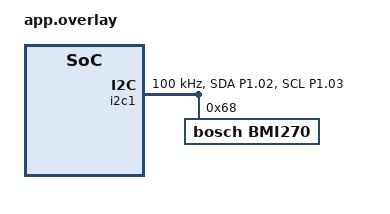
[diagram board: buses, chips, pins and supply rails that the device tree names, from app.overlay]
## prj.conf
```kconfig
CONFIG_STDOUT_CONSOLE=y
CONFIG_I2C=y
CONFIG_PRINTK=y
CONFIG_SENSOR=y
CONFIG_GPIO=y
CONFIG_BMI270=y

CONFIG_NEWLIB_LIBC=y
CONFIG_NEWLIB_LIBC_FLOAT_PRINTF=y
CONFIG_CBPRINTF_FP_SUPPORT=y

CONFIG_USE_SEGGER_RTT=y
CONFIG_RTT_CONSOLE=y


CONFIG_LOG=n
```

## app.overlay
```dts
// To get started, press Ctrl+Space (or Option+Esc) to bring up the completion menu and view the available nodes.

// You can also use the buttons in the sidebar to perform actions on nodes.
// Actions currently available include:

// * Enabling / disabling the node
// * Adding the bus to a bus
// * Removing the node
// * Connecting ADC channels

// For more help, browse the DeviceTree documentation at https: //docs.zephyrproject.org/latest/guides/dts/index.html
// You can also visit the nRF DeviceTree extension documentation at https: //docs.nordicsemi.com/bundle/nrf-connect-vscode/page/guides/ncs_configure_app.html#devicetree-support-in-the-extension

&i2c1 {
  status = "okay";
  compatible = "nordic,nrf-twim";
  label = "I2C_1";
  pinctrl-0 = <&i2c1_default>;
  pinctrl-1 = <&i2c1_sleep>;
  pinctrl-names = "default", "sleep";
  clock-frequency = <I2C_BITRATE_STANDARD>;
  zephyr,concat-buf-size = <4092>;
  zephyr,flash-buf-max-size = <4092>;


  bmi270@68 {
		compatible = "bosch,bmi270";
		reg = <0x68>;
	};
};

&pinctrl {
  i2c1_default: i2c1_default{
    group1 {
      psels = <NRF_PSEL(TWIM_SDA, 1, 02)>,
              <NRF_PSEL(TWIM_SCL, 1, 03)>;
    };
  };

  i2c1_sleep: i2c1_sleep{
    group1 {
      psels = <NRF_PSEL(TWIM_SDA, 1, 02)>,
              <NRF_PSEL(TWIM_SCL, 1, 03)>;
      low-power-enable;
    };
  };
};
```

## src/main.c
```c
/*
 * Copyright (c) 2021 Bosch Sensortec GmbH
 *
 * SPDX-License-Identifier: Apache-2.0
 */

#include <zephyr/kernel.h>
#include <zephyr/device.h>
#include <zephyr/drivers/sensor.h>
#include <stdio.h>
#include <zephyr/drivers/gpio.h>
#include <zephyr/sys/atomic.h>
#include <math.h>
#define PI 3.14159265359f

// Constantes para filtro Madgwick 
#define deltat 0.01f                                             // Periodo de amostragem (1 ms = 0.001 s)
#define gyroMeasError 3.14159265358979f * (10.0f / 180.0f)         // erro de medição do giroscópio em rad/s (convertido de 5°/s)  
//#define beta sqrt(3.0f / 4.0f) * gyroMeasError                    // constante de correção do filtro Madgwick (proporcional ao erro de medição do giroscópio)  

float beta_val = 0.0f;
#define BETA_MOTION  (sqrt(3.0f / 4.0f) * (3.14159265358979f * (10.0f / 180.0f)))  // movimento normal
#define BETA_STATIC  0.5f   // parado: acelerômetro corrige forte

float SEq_1 = 1.0f, SEq_2 = 0.0f, SEq_3 = 0.0f, SEq_4 = 0.0f;     // elementos do quaternio de orientação estimada com condições iniciais

//Variáveis de offset
static float gyr_offset_x = 0.0f;
static float gyr_offset_y = 0.0f;
static float gyr_offset_z = 0.0f;

// Valor de thereshold para o gyro
#define GYRO_THRESHOLD 0.03f  // rad/s

// Acelerômetro filtrado (passa-baixa)
static float ax_f = 0.0f, ay_f = 0.0f, az_f = 1.0f;
#define ACC_ALPHA 0.1f  // 0.0 = muito suave, 1.0 = sem filtro — ajuste entre 0.05 e 0.2


/*Definido os botões de iniciação e parada*/
#define BUTTON_NODE DT_ALIAS(sw0)
static atomic_t app_running = ATOMIC_INIT(0);

K_SEM_DEFINE(run_sem, 0, 1);


#if !DT_NODE_HAS_STATUS(BUTTON_NODE, okay)
#error "Botão sw0 não encontrado"
#endif

static const struct gpio_dt_spec button =
    GPIO_DT_SPEC_GET(BUTTON_NODE, gpios);
#define BUTTON_NODE DT_ALIAS(sw0)

#if !DT_NODE_HAS_STATUS(BUTTON_NODE, okay)
#error "Botão sw0 não encontrado"
#endif

static struct gpio_callback button_cb;

void button_pressed(const struct device *dev,
                    struct gpio_callback *cb,
                    uint32_t pins)
{
     if (atomic_get(&app_running)) {
        /* Estava rodando → PAUSA */
        atomic_set(&app_running, 0);
    } else {
        /* Estava pausado → retorna */
        atomic_set(&app_running, 1);
    	printk("START\n");
    	k_sem_give(&run_sem);
    }
}

/* Função para botão de iniciar */
static void button_init(void)
{
    gpio_pin_configure_dt(&button, GPIO_INPUT);

    gpio_pin_interrupt_configure_dt(
        &button, GPIO_INT_EDGE_TO_ACTIVE);

    gpio_init_callback(&button_cb,
                       button_pressed,
                       BIT(button.pin));

    gpio_add_callback(button.port, &button_cb);
}

/* Filtro complementar para calculo do pitch e roll */
static float roll = 0.0f;
static float pitch = 0.0f;

#define DT     0.01f   /* 10 ms */
#define ALPHA  0.99f


/*-------Função filtro Madgwick-------*/
void filterUpdate(float w_x, float w_y, float w_z, float a_x, float a_y, float a_z)
{
// Variáveis para o filtro Madgwick

    float norm; // vetor norm
    float SEqDot_omega_1, SEqDot_omega_2, SEqDot_omega_3, SEqDot_omega_4; // derivada do quaternio medida pelos giroscópios
    float f_1, f_2, f_3; // elementos da função objetivo
    float J_11or24, J_12or23, J_13or22, J_14or21, J_32, J_33; // elementos da jacobiana da função objetivo
    float SEqHatDot_1, SEqHatDot_2, SEqHatDot_3, SEqHatDot_4; // direção estimada do erro do giroscópio

// variaveis auxiliares para o evitar calculos repitidos
    float halfSEq_1 = 0.5f * SEq_1;
    float halfSEq_2 = 0.5f * SEq_2;
    float halfSEq_3 = 0.5f * SEq_3;
    float halfSEq_4 = 0.5f * SEq_4;
    float twoSEq_1 = 2.0f * SEq_1;
    float twoSEq_2 = 2.0f * SEq_2;
    float twoSEq_3 = 2.0f * SEq_3;

// Normalização das medidas do acelerometro
    norm = sqrt(a_x * a_x + a_y * a_y + a_z * a_z);
    a_x /= norm;
    a_y /= norm;
    a_z /= norm;

// Calculando os elementos da função objetivo e da jacobiana
    f_1 = twoSEq_2 * SEq_4- twoSEq_1 * SEq_3- a_x;
    f_2 = twoSEq_1 * SEq_2 + twoSEq_3 * SEq_4- a_y;
    f_3 = 1.0f- twoSEq_2 * SEq_2- twoSEq_3 * SEq_3- a_z;
    J_11or24 = twoSEq_3; // J_11 negado na multiplicação de matrizes
    J_12or23 = 2.0f * SEq_4; 
    J_13or22 = twoSEq_1; // J_12 negado na multiplicação de matrizes
    J_14or21 = twoSEq_2;
    J_32 = 2.0f * J_14or21; // negado na multiplicação de matrizes
    J_33 = 2.0f * J_11or24; // negado na multiplicação de matrizes

// Computando o gradiente (multiplicação de matriz)
    SEqHatDot_1 = J_14or21 * f_2- J_11or24 * f_1;
    SEqHatDot_2 = J_12or23 * f_1 + J_13or22 * f_2- J_32 * f_3;
    SEqHatDot_3 = J_12or23 * f_2- J_33 * f_3- J_13or22 * f_1;
    SEqHatDot_4 = J_14or21 * f_1 + J_11or24 * f_2;

// Normalização do gradiente
    norm = sqrt(SEqHatDot_1 * SEqHatDot_1 + SEqHatDot_2 * SEqHatDot_2 + SEqHatDot_3 * SEqHatDot_3 + SEqHatDot_4 * SEqHatDot_4);
    SEqHatDot_1 /= norm;
    SEqHatDot_2 /= norm;
    SEqHatDot_3 /= norm;
    SEqHatDot_4 /= norm;

// Calculando a derrivada do quaternio medida pelo giroscópio
    SEqDot_omega_1 =-halfSEq_2 * w_x- halfSEq_3 * w_y- halfSEq_4 * w_z;
    SEqDot_omega_2 = halfSEq_1 * w_x + halfSEq_3 * w_z- halfSEq_4 * w_y;
    SEqDot_omega_3 = halfSEq_1 * w_y- halfSEq_2 * w_z + halfSEq_4 * w_x;
    SEqDot_omega_4 = halfSEq_1 * w_z + halfSEq_2 * w_y- halfSEq_3 * w_x;

// Calcula e depois integra a derrivada do quaternio estimada
    SEq_1 += (SEqDot_omega_1- (beta_val * SEqHatDot_1)) * deltat;
    SEq_2 += (SEqDot_omega_2- (beta_val * SEqHatDot_2)) * deltat;
    SEq_3 += (SEqDot_omega_3- (beta_val * SEqHatDot_3)) * deltat;
    SEq_4 += (SEqDot_omega_4- (beta_val * SEqHatDot_4)) * deltat;

// Normalização do quaternio
    norm = sqrt(SEq_1 * SEq_1 + SEq_2 * SEq_2 + SEq_3 * SEq_3 + SEq_4 * SEq_4);
    SEq_1 /= norm;
    SEq_2 /= norm;
    SEq_3 /= norm;
    SEq_4 /= norm;
}
/* Função de calibração */ 
void calibrate_gyro(const struct device *dev)
{
    struct sensor_value gyr[3];
    const int N = 200;
    float sum_x = 0, sum_y = 0, sum_z = 0;

    printk("Calibrando giroscópio, mantenha o sensor parado...\n");

    for (int i = 0; i < N; i++) {
        sensor_sample_fetch(dev);
        sensor_channel_get(dev, SENSOR_CHAN_GYRO_XYZ, gyr);
        sum_x += sensor_value_to_double(&gyr[0]);
        sum_y += sensor_value_to_double(&gyr[1]);
        sum_z += sensor_value_to_double(&gyr[2]);
        k_sleep(K_MSEC(10));
    }

    gyr_offset_x = sum_x / N;
    gyr_offset_y = sum_y / N;
    gyr_offset_z = sum_z / N;

    printk("Offset: x=%.4f y=%.4f z=%.4f\n",
           gyr_offset_x, gyr_offset_y, gyr_offset_z);
}

/*Função de threshold*/
float deadband(float v) {
    return (fabsf(v) < GYRO_THRESHOLD) ? 0.0f : v;
}


int main(void)
{
    const struct device *dev = DEVICE_DT_GET_ONE(bosch_bmi270);
    struct sensor_value acc[3], gyr[3];
    struct sensor_value full_scale_accel, full_scale_gyro, sampling_freq, oversampling;


    printk("Aguardando inicio\n");

    button_init();

    if (!device_is_ready(dev)) {
        printk("BMI270 não pronto\n");
        return 0;
    }

    /*------ Configurando o sensor ------*/

    /*Acelerometro*/
    full_scale_accel.val1 = 2;  /*(g)*/
    full_scale_accel.val2 = 0;
    sampling_freq.val1 = 100;
    sampling_freq.val2 = 0;
    oversampling.val1 = 1;
    oversampling.val2 = 0;

    sensor_attr_set(dev, SENSOR_CHAN_ACCEL_XYZ,
                    SENSOR_ATTR_FULL_SCALE, &full_scale_accel);
    sensor_attr_set(dev, SENSOR_CHAN_ACCEL_XYZ,
                    SENSOR_ATTR_OVERSAMPLING, &oversampling);
    sensor_attr_set(dev, SENSOR_CHAN_ACCEL_XYZ,
                    SENSOR_ATTR_SAMPLING_FREQUENCY, &sampling_freq);

    /*Gisroscópio*/                
    full_scale_gyro.val1 = 500;  /*(dps = degrees per second)*/

    sensor_attr_set(dev, SENSOR_CHAN_GYRO_XYZ,
                    SENSOR_ATTR_FULL_SCALE, &full_scale_gyro);
    sensor_attr_set(dev, SENSOR_CHAN_GYRO_XYZ,
                    SENSOR_ATTR_OVERSAMPLING, &oversampling);
    sensor_attr_set(dev, SENSOR_CHAN_GYRO_XYZ,
                    SENSOR_ATTR_SAMPLING_FREQUENCY, &sampling_freq);

    calibrate_gyro(dev);

                    
    /* ------ LOOP PRINCIPAL ------ */
    while (1) {

        /* BLOQUEIA SE PAUSADO */
        if (!atomic_get(&app_running)) {
            printk("Aplicação pausada\n");
            k_sem_take(&run_sem, K_FOREVER);
            printk("Aplicação retomada\n");
        }

        /* LÊ SENSOR */
        sensor_sample_fetch(dev);
        sensor_channel_get(dev, SENSOR_CHAN_ACCEL_XYZ, acc);
        sensor_channel_get(dev, SENSOR_CHAN_GYRO_XYZ, gyr);

        /*printk("AX:%d.%04d AY:%d.%04d AZ:%d.%04d | "
               "GX:%d.%04d GY:%d.%04d GZ:%d.%04d\n\n",
               acc[0].val1, acc[0].val2,
               acc[1].val1, acc[1].val2,
               acc[2].val1, acc[2].val2,
               gyr[0].val1, gyr[0].val2,
               gyr[1].val1, gyr[1].val2,
               gyr[2].val1, gyr[2].val2); */

      

        /* Conversões para o filtro Madgwick */

        /*valores do acelerometro sem filtragem
        float ax = sensor_value_to_double(&acc[0]);
        float ay = sensor_value_to_double(&acc[1]);
        float az = sensor_value_to_double(&acc[2]);*/

        float ax_raw = sensor_value_to_double(&acc[0]);
        float ay_raw = sensor_value_to_double(&acc[1]);
        float az_raw = sensor_value_to_double(&acc[2]);

        // Passa-baixa exponencial
        ax_f = ACC_ALPHA * ax_raw + (1.0f - ACC_ALPHA) * ax_f;
        ay_f = ACC_ALPHA * ay_raw + (1.0f - ACC_ALPHA) * ay_f;
        az_f = ACC_ALPHA * az_raw + (1.0f - ACC_ALPHA) * az_f;

        float ax = ax_f;
        float ay = ay_f;
        float az = az_f;

        float gx = sensor_value_to_double(&gyr[0]) - gyr_offset_x; //rad/s
        float gy = sensor_value_to_double(&gyr[1]) - gyr_offset_y;         //Subtraindo o offset
        float gz = sensor_value_to_double(&gyr[2]) - gyr_offset_z;

        /* === ÂNGULOS PELO ACELERÔMETRO === */
        float roll_acc  = atan2f(ay, az) * 180.0f / PI;
        float pitch_acc = atan2f(-ax, sqrtf(ay*ay + az*az)) * 180.0f / PI;    

        /* === FILTRO COMPLEMENTAR === */
        roll  = ALPHA * (roll  + gx * DT) + (1.0f - ALPHA) * roll_acc;    /*Inclinação lateral*/
        pitch = ALPHA * (pitch + gy * DT) + (1.0f - ALPHA) * pitch_acc;   /*Inclinação frente/trás*/

        /*printk("Roll: %d.%02d deg | Pitch: %d.%02d deg\n\n",
            (int)roll, (int)(fabsf(roll) * 100) % 100,
            (int)pitch, (int)(fabsf(pitch) * 100) % 100); */

        /*Analisa os valores para verificar threshold*/    
        gx = deadband(gx);
        gy = deadband(gy);
        gz = deadband(gz);

        /* Atualiza o filtro Madgwick checando se o sensor está parado, se sim congela o quaternion*/
        bool is_static = (gx == 0.0f && gy == 0.0f && gz == 0.0f);

        // Adapta o beta conforme movimento
        beta_val = is_static ? BETA_STATIC : BETA_MOTION;

        if (!is_static) {
            filterUpdate(gx, gy, gz, ax, ay, az);
        }  

        printk("Q:%f,%f,%f,%f\n", SEq_1, SEq_2, SEq_3, SEq_4);
        printk("=====================================\n\n");

        //Teste
        printk("static=%d beta=%.3f gx=%.4f gy=%.4f gz=%.4f\n", is_static, beta_val, gx, gy, gz);


        k_sleep(K_MSEC(10));
    }
}
```

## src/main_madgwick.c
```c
/*
 * IMU Visualizer — Filtro Madgwick Combinado
 * Hardware: nRF5340 Audio DK + BMI270
 *
 * Este firmware combina o melhor dos dois filtros:
 *
 * DO PROJETO original:
 *   ✓ Versão otimizada do Madgwick (sem Jacobiana explícita)
 *   ✓ Estado interno em quaternion puro (sem passar por Euler)
 *   ✓ Guarda contra acelerômetro zero (evita NaN)
 *   ✓ dt real via k_uptime_get()
 *
 * DO SEU PROJETO:
 *   ✓ Calibração de offset do giroscópio
 *   ✓ Filtro passa-baixa no acelerômetro
 *   ✓ Beta adaptativo — baixo no movimento, alto quando parado
 *   ✓ Botão sw0 para pausar/retomar
 *
 * RESULTADO ESPERADO:
 *   - Sem drift quando parado (beta alto corrige via acelerômetro)
 *   - Sem congelamento de erro (nunca trava o filtro)
 *   - Sem gimbal lock (quaternion puro, sem Euler interno)
 *   - Resposta suave no movimento (versão otimizada do original)
 */

#include <zephyr/kernel.h>
#include <zephyr/device.h>
#include <zephyr/drivers/sensor.h>
#include <zephyr/drivers/gpio.h>
#include <zephyr/sys/atomic.h>
#include <stdio.h>
#include <math.h>

/* ===========================================================
 * PARÂMETROS DO FILTRO
 * ===========================================================
 *
 * Beta adaptativo — a principal contribuição do seu projeto:
 *
 * BETA_MOTION → usado durante movimento detectado
 *   Valor baixo: giroscópio domina, resposta rápida e suave
 *   Recomendação: 0.03 a 0.07
 *
 * BETA_STATIC → usado quando parado
 *   Valor alto: acelerômetro domina, corrige drift acumulado
 *   Recomendação: 0.3 a 0.5
 *
 * A diferença entre os dois é a chave:
 *   - Código original usava 0.03 fixo → drift parado
 *   - Seu código congelava o filtro → não voltava à posição
 *   - Aqui: beta alto quando parado corrige SEM congelar
 *
 * GYRO_THRESHOLD → detecta se o sensor está parado
 *   Só muda o beta, NÃO zera o giroscópio nem congela o filtro
 *   O filtro sempre roda — a diferença é só o peso do acelerômetro
 *
 * ACC_ALPHA → suavização do acelerômetro 
 *   Reduz ruído de alta frequência sem atrasar muito a resposta
 */
#define BETA_MOTION    0.04f   /* movimento: giroscópio domina        */
#define BETA_STATIC    0.4f    /* parado: acelerômetro corrige drift   */
#define GYRO_THRESHOLD 0.03f   /* rad/s — limiar de detecção de repouso */
#define ACC_ALPHA      0.1f    /* passa-baixa do acelerômetro          */

/* Quaternion de estado — nunca convertido para Euler internamente */
static float q0 = 1.0f, q1 = 0.0f, q2 = 0.0f, q3 = 0.0f;

/* Acelerômetro filtrado (passa-baixa) */
static float ax_f = 0.0f, ay_f = 0.0f, az_f = 1.0f;

/* ===========================================================
 * FILTRO MADGWICK COMBINADO
 * ===========================================================
 *
 * Implementação otimizada com beta adaptativo do seu.
 *
 * Parâmetro beta recebido externamente — permite adaptar
 * o comportamento sem modificar a função do filtro.
 *
 * Etapas:
 *   1. Derivada do quaternion pelo giroscópio (qDot)
 *   2. Guarda acelerômetro zero — evita NaN
 *   3. Normaliza acelerômetro
 *   4. Gradiente otimizado — sem Jacobiana explícita
 *   5. Aplica beta × gradiente em qDot
 *   6. Integra com dt real
 *   7. Normaliza quaternion
 */
static void madgwick_update(float gx, float gy, float gz,
                             float ax, float ay, float az,
                             float dt, float beta)
{
    float recipNorm;
    float s0, s1, s2, s3;
    float qDot1, qDot2, qDot3, qDot4;

    /* ── Etapa 1: derivada pelo giroscópio ─────────────────
     * q_dot = 0.5 * q ⊗ [0, gx, gy, gz]
     */
    qDot1 = 0.5f * (-q1*gx - q2*gy - q3*gz);
    qDot2 = 0.5f * ( q0*gx + q2*gz - q3*gy);
    qDot3 = 0.5f * ( q0*gy - q1*gz + q3*gx);
    qDot4 = 0.5f * ( q0*gz + q1*gy - q2*gx);

    /* ── Etapa 2-5: correção pelo acelerômetro ─────────────
     * Só executa se acelerômetro for válido
     */
    if (!((ax == 0.0f) && (ay == 0.0f) && (az == 0.0f))) {

        /* Normaliza acelerômetro */
        recipNorm = 1.0f / sqrtf(ax*ax + ay*ay + az*az);
        ax *= recipNorm;
        ay *= recipNorm;
        az *= recipNorm;

        /* Variáveis auxiliares */
        float _2q0 = 2.0f * q0;
        float _2q1 = 2.0f * q1;
        float _2q2 = 2.0f * q2;
        float _2q3 = 2.0f * q3;
        float _4q0 = 4.0f * q0;
        float _4q1 = 4.0f * q1;
        float _4q2 = 4.0f * q2;
        float _8q1 = 8.0f * q1;
        float _8q2 = 8.0f * q2;
        float q0q0 = q0 * q0;
        float q1q1 = q1 * q1;
        float q2q2 = q2 * q2;
        float q3q3 = q3 * q3;

        /* Gradiente descendente otimizado 
         *
         * Matematicamente equivalente a J^T * f do seu código,
         * mas sem instanciar J e f separadamente.
         * s0..s3 = erro entre orientação estimada e gravidade medida.
         */
        s0 = _4q0*q2q2 + _2q2*ax + _4q0*q1q1 - _2q1*ay;

        s1 = _4q1*q3q3 - _2q3*ax + 4.0f*q0q0*q1 - _2q0*ay
           - _4q1 + _8q1*q1q1 + _8q1*q2q2 + _4q1*az;

        s2 = 4.0f*q0q0*q2 + _2q0*ax + _4q2*q3q3 - _2q3*ay
           - _4q2 + _8q2*q1q1 + _8q2*q2q2 + _4q2*az;

        s3 = 4.0f*q1q1*q3 - _2q1*ax + 4.0f*q2q2*q3 - _2q2*ay;

        /* Normaliza o gradiente */
        recipNorm = 1.0f / sqrtf(s0*s0 + s1*s1 + s2*s2 + s3*s3);
        s0 *= recipNorm;
        s1 *= recipNorm;
        s2 *= recipNorm;
        s3 *= recipNorm;

        /* Aplica feedback com beta adaptativo 
         *
         * Beta baixo (MOTION): acelerômetro corrige pouco
         *   → giroscópio domina → resposta rápida e suave
         *
         * Beta alto (STATIC): acelerômetro corrige muito
         *   → puxa quaternion de volta à gravidade real
         *   → elimina drift acumulado sem congelar o filtro
         */
        qDot1 -= beta * s0;
        qDot2 -= beta * s1;
        qDot3 -= beta * s2;
        qDot4 -= beta * s3;
    }

    /* ── Etapa 6: integração com dt real ────────────
     * Mais preciso que DT fixo — compensa variações do loop
     */
    q0 += qDot1 * dt;
    q1 += qDot2 * dt;
    q2 += qDot3 * dt;
    q3 += qDot4 * dt;

    /* ── Etapa 7: normaliza quaternion ─────────────────────*/
    recipNorm = 1.0f / sqrtf(q0*q0 + q1*q1 + q2*q2 + q3*q3);
    q0 *= recipNorm;
    q1 *= recipNorm;
    q2 *= recipNorm;
    q3 *= recipNorm;
}

/* ===========================================================
 * DETECÇÃO DE REPOUSO
 * ===========================================================
 *
 * Verifica se o sensor está parado baseado na magnitude
 * total do giroscópio — mais robusto que comparar cada
 * eixo individualmente com zero.
 *
 * Retorna true se o sensor estiver em repouso.
 * NÃO zera o giroscópio — o filtro sempre recebe o valor real.
 * Só muda o beta para aumentar a influência do acelerômetro.
 */
static bool is_sensor_static(float gx, float gy, float gz)
{
    float mag = sqrtf(gx*gx + gy*gy + gz*gz);
    return mag < GYRO_THRESHOLD;
}

/* ===========================================================
 * BOTÃO sw0 — pausar / retomar 
 * ===========================================================
 */
#define BUTTON_NODE DT_ALIAS(sw0)

#if !DT_NODE_HAS_STATUS(BUTTON_NODE, okay)
#error "Botão sw0 não encontrado no Device Tree"
#endif

static const struct gpio_dt_spec button =
    GPIO_DT_SPEC_GET(BUTTON_NODE, gpios);
static struct gpio_callback button_cb;
static atomic_t app_running = ATOMIC_INIT(0);
K_SEM_DEFINE(run_sem, 0, 1);

static void button_pressed(const struct device *dev,
                            struct gpio_callback *cb,
                            uint32_t pins)
{
    if (atomic_get(&app_running)) {
        atomic_set(&app_running, 0);
    } else {
        atomic_set(&app_running, 1);
        printk("START\n");
        k_sem_give(&run_sem);
    }
}

static void button_init(void)
{
    gpio_pin_configure_dt(&button, GPIO_INPUT);
    gpio_pin_interrupt_configure_dt(&button, GPIO_INT_EDGE_TO_ACTIVE);
    gpio_init_callback(&button_cb, button_pressed, BIT(button.pin));
    gpio_add_callback(button.port, &button_cb);
}

/* ===========================================================
 * CALIBRAÇÃO DO GIROSCÓPIO 
 * ===========================================================
 *
 * Mede o bias em repouso e subtrai de todas as leituras.
 * Com beta adaptativo isso é ainda mais importante — um bias
 * não calibrado vai causar drift mesmo com BETA_STATIC alto,
 * pois o acelerômetro só corrige roll e pitch, não yaw.
 */
static float gyr_offset_x = 0.0f;
static float gyr_offset_y = 0.0f;
static float gyr_offset_z = 0.0f;

static void calibrate_gyro(const struct device *dev)
{
    struct sensor_value gyr[3];
    const int N = 200;
    double sum_x = 0.0, sum_y = 0.0, sum_z = 0.0;

    printk("Calibrando giroscópio — mantenha o sensor parado...\n");

    for (int i = 0; i < N; i++) {
        sensor_sample_fetch(dev);
        sensor_channel_get(dev, SENSOR_CHAN_GYRO_XYZ, gyr);
        sum_x += sensor_value_to_double(&gyr[0]);
        sum_y += sensor_value_to_double(&gyr[1]);
        sum_z += sensor_value_to_double(&gyr[2]);
        k_sleep(K_MSEC(10));
    }

    gyr_offset_x = (float)(sum_x / N);
    gyr_offset_y = (float)(sum_y / N);
    gyr_offset_z = (float)(sum_z / N);

    printk("Offset: x=%.4f y=%.4f z=%.4f\n",
           (double)gyr_offset_x,
           (double)gyr_offset_y,
           (double)gyr_offset_z);
}

/* ===========================================================
 * MAIN
 * ===========================================================
 */
int main(void)
{
    const struct device *dev = DEVICE_DT_GET_ONE(bosch_bmi270);
    struct sensor_value acc[3], gyr[3];
    struct sensor_value full_scale_accel, full_scale_gyro,
                        sampling_freq, oversampling;

    printk("IMU Madgwick Combinado iniciando...\n");

    button_init();

    if (!device_is_ready(dev)) {
        printk("BMI270 não está pronto\n");
        return 0;
    }

    /* ------ Configura acelerômetro ------ */
    full_scale_accel.val1 = 2;
    full_scale_accel.val2 = 0;
    sampling_freq.val1    = 100;
    sampling_freq.val2    = 0;
    oversampling.val1     = 1;
    oversampling.val2     = 0;

    sensor_attr_set(dev, SENSOR_CHAN_ACCEL_XYZ,
                    SENSOR_ATTR_FULL_SCALE, &full_scale_accel);
    sensor_attr_set(dev, SENSOR_CHAN_ACCEL_XYZ,
                    SENSOR_ATTR_OVERSAMPLING, &oversampling);
    sensor_attr_set(dev, SENSOR_CHAN_ACCEL_XYZ,
                    SENSOR_ATTR_SAMPLING_FREQUENCY, &sampling_freq);

    /* ------ Configura giroscópio ------ */
    full_scale_gyro.val1 = 500;
    full_scale_gyro.val2 = 0;

    sensor_attr_set(dev, SENSOR_CHAN_GYRO_XYZ,
                    SENSOR_ATTR_FULL_SCALE, &full_scale_gyro);
    sensor_attr_set(dev, SENSOR_CHAN_GYRO_XYZ,
                    SENSOR_ATTR_OVERSAMPLING, &oversampling);
    sensor_attr_set(dev, SENSOR_CHAN_GYRO_XYZ,
                    SENSOR_ATTR_SAMPLING_FREQUENCY, &sampling_freq);

    /* ------ Calibração ------ */
    calibrate_gyro(dev);

    printk("Pressione sw0 para iniciar.\n");

    /* Timestamp para dt real */
    int64_t last_ts = 0;

    /* ------ Loop principal ------ */
    while (1) {

        /* Bloqueia enquanto pausado */
        if (!atomic_get(&app_running)) {
            printk("Pausado\n");
            k_sem_take(&run_sem, K_FOREVER);
            printk("Retomado\n");
            last_ts = 0; /* evita salto no dt ao retomar */
        }

        /* Lê sensor */
        sensor_sample_fetch(dev);
        sensor_channel_get(dev, SENSOR_CHAN_ACCEL_XYZ, acc);
        sensor_channel_get(dev, SENSOR_CHAN_GYRO_XYZ,  gyr);

        /* Acelerômetro com filtro passa-baixa
         * Reduz ruído de alta frequência sem atrasar a resposta */
        float ax_raw = (float)sensor_value_to_double(&acc[0]);
        float ay_raw = (float)sensor_value_to_double(&acc[1]);
        float az_raw = (float)sensor_value_to_double(&acc[2]);

        ax_f = ACC_ALPHA * ax_raw + (1.0f - ACC_ALPHA) * ax_f;
        ay_f = ACC_ALPHA * ay_raw + (1.0f - ACC_ALPHA) * ay_f;
        az_f = ACC_ALPHA * az_raw + (1.0f - ACC_ALPHA) * az_f;

        /* Giroscópio com subtração de offset 
         * Sem deadband — o beta adaptativo resolve o drift
         * de forma mais elegante e sem congelar o filtro */
        float gx = (float)sensor_value_to_double(&gyr[0]) - gyr_offset_x;
        float gy = (float)sensor_value_to_double(&gyr[1]) - gyr_offset_y;
        float gz = (float)sensor_value_to_double(&gyr[2]) - gyr_offset_z;

        /* dt real */
        int64_t now = k_uptime_get();
        float dt = (last_ts == 0) ? 0.01f
                                  : (float)(now - last_ts) / 1000.0f;
        last_ts = now;

        /* Beta adaptativo sem congelamento do filtro
         *
         * A diferença crítica em relação ao seu código original:
         *   Antes: is_static → congela filterUpdate() completamente
         *   Agora: is_static → só aumenta o beta
         *
         * O filtro SEMPRE roda. Quando parado, o acelerômetro
         * tem mais peso e puxa o quaternion de volta à posição
         * correta — sem travar o erro acumulado no lugar.
         */
        bool static_now = is_sensor_static(gx, gy, gz);
        float beta = static_now ? BETA_STATIC : BETA_MOTION;

        /* Atualiza o filtro com acelerômetro filtrado */
        madgwick_update(gx, gy, gz, ax_f, ay_f, az_f, dt, beta);

        /* Envia quaternion pela serial
         * Protocolo compatível com o visualizador */
        printk("Q:%f,%f,%f,%f\n",
               (double)q0, (double)q1, (double)q2, (double)q3);

        k_sleep(K_MSEC(10));
    }
}
```
